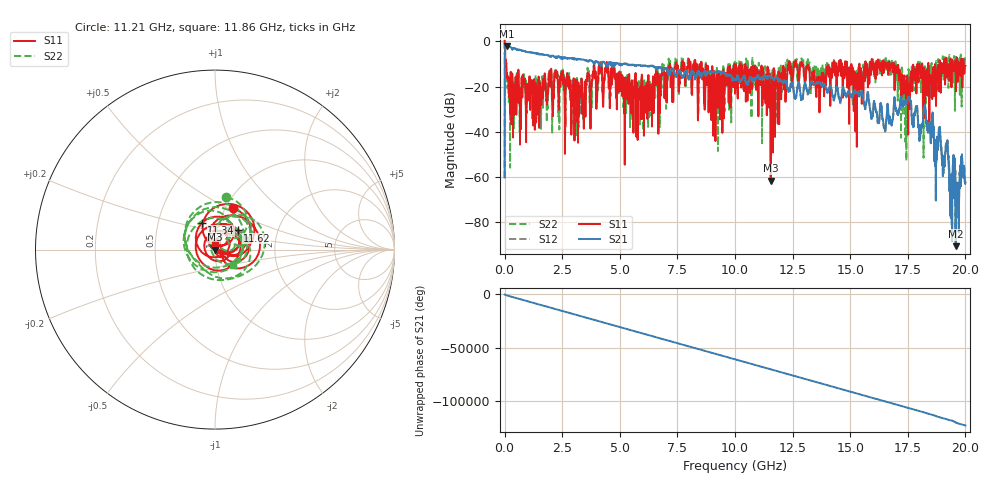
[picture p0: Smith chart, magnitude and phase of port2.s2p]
! MS46122B
! 2250307/22442219
! 2/20/2026 8:49:42 AM
! C:\USERS\SPARKY\DOCUMENTS\VNA_DATA\FEB20_2026\PORT2.S2P
! CHANNEL.1
! TR.MEASUREMENT
! RAW.DATA
# GHZ S RI R 50.0
! FREQ.GHZ  S11RE  S11IM  S21RE  S21IM  S12RE  S12IM  S22RE  S22IM
!; PortSelection: Port_12
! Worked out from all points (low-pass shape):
!   10001 points, 1 MHz to 20 GHz, reference 50 ohm
!   highest |S21| = -2.01 dB at 93 MHz (marker M1); lowest = -90.5 dB at 19.58 GHz (marker M2)
!   |S21| within 3 dB of the highest: 20.1 MHz to 1.177 GHz (1.157 GHz wide, 193 % of centre); 1.186 GHz to 1.247 GHz (60.62 MHz wide, 4.98 % of centre)
!   lowest |S11| = -61.6 dB at 11.55 GHz (marker M3), VSWR 1.00, Z = 50.1 + j0.0255 ohm
!   |S11| at or under -10 dB: 76.6 MHz to 3.88 GHz (3.804 GHz wide, 192 % of centre); 4.698 GHz to 7.169 GHz (2.472 GHz wide, 41.7 % of centre); 10.24 GHz to 12.35 GHz (2.102 GHz wide, 18.6 % of centre) (the widest 3 of 62)
!   |S22| runs from -55.8 to -0.2 dB; largest |S21 - S12| = 0.068
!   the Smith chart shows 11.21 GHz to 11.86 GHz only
!   S11 on the Smith chart (normalised r, x): 11.21 GHz: 1.08, +0.53; 11.34 GHz: 0.83, +0.25; 11.62 GHz: 1.25, +0.28; 11.86 GHz: 1.00, +0.05
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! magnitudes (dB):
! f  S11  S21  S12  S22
! 1 MHz  0.4  -60.2  -60.3  -0.2
! 93 MHz  -15.1  -2.0  -2.1  -18.4
! 437 MHz  -21.2  -3.1  -3.2  -20.5
! 2.491 GHz  -14.9  -7.0  -7.1  -17.1
! 3.335 GHz  -17.7  -8.0  -8.1  -17.9
! 4.133 GHz  -11.6  -9.8  -9.9  -13.1
! 5.209 GHz  -25.2  -9.8  -9.8  -22.3
! 6.669 GHz  -25.0  -11.3  -11.5  -28.2
! 7.445 GHz  -9.3  -15.7  -15.6  -9.9
! 10 GHz  -21.6  -17.1  -16.5  -9.4
! 11.21 GHz  -12.1  -16.8  -16.5  -10.5
! 11.34 GHz  -15.6  -16.1  -16.2  -16.2
! 11.55 GHz  -61.6  -15.4  -15.5  -16.7
! 11.62 GHz  -15.7  -16.1  -16.4  -13.5
! 11.86 GHz  -32.6  -16.2  -16.3  -17.4
! 13.33 GHz  -19.2  -17.6  -17.7  -15.6
! 16.67 GHz  -11.0  -33.6  -33.6  -10.4
! 17.36 GHz  -15.7  -27.3  -27.5  -25.5
! 18.04 GHz  -11.7  -40.5  -40.6  -10.7
! 18.25 GHz  -17.2  -29.3  -29.4  -12.4
! 19.58 GHz  -12.1  -90.5  -83.4  -6.2
! 20 GHz  -10.8  -62.1  -62.8  -6.1
